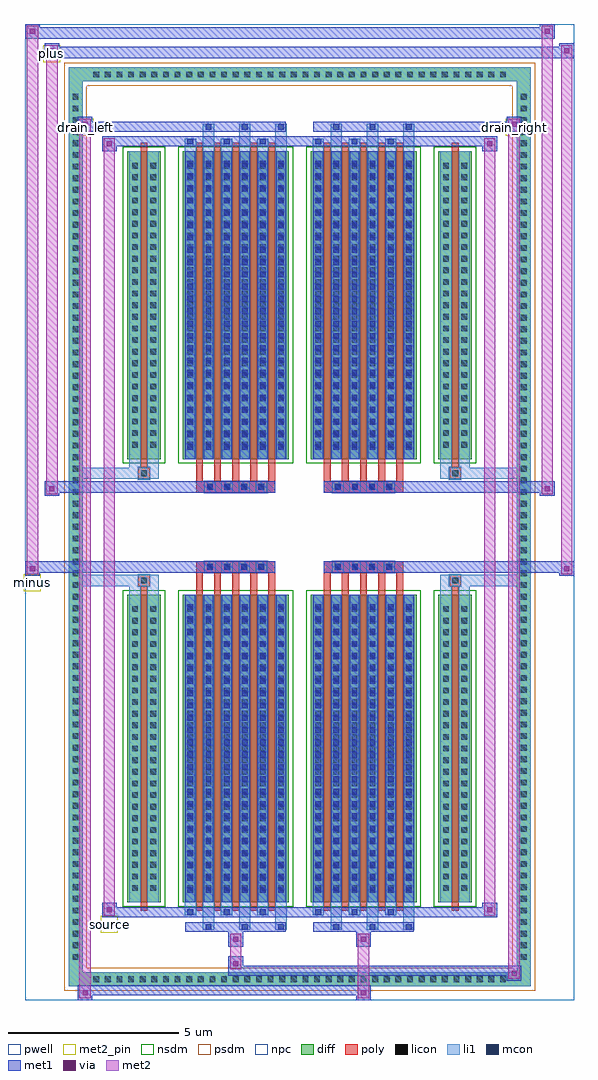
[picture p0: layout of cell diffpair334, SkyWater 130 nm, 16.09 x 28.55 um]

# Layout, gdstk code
import gdstk
lib = gdstk.Library(unit=1e-6, precision=5e-09)
def R(c, l, rs):  # rectangles x0, y0, x1, y1
    for r in rs: c.add(gdstk.rectangle(r[:2], r[2:], *l))
def A(c, l, x, y, w, h, nx, ny, dx, dy):  # array of equal rectangles
    R(c, l, [(x+i*dx, y+j*dy, x+i*dx+w, y+j*dy+h) for i in range(nx) for j in range(ny)])
def P(c, l, *ps):  # polygons
    for p in ps: c.add(gdstk.Polygon(p, *l))
pwell = (64, 44)
diff = (65, 20)
poly = (66, 20)
licon = (66, 44)
li1 = (67, 20)
mcon = (67, 44)
met1 = (68, 20)
via = (68, 44)
met2_pin = (69, 16)
met2 = (69, 20)
nsdm = (93, 44)
psdm = (94, 20)
npc = (95, 20)

diffpair334 = lib.new_cell('diffpair334')
R(diffpair334, pwell, [(-8.03,-13.84,8.03,14.71), (-5.35,-12.03,-0.01,-0.805), (0.01,-12.03,5.35,-0.805), (-5.35,0.805,-0.01,12.03), (0.01,0.805,5.35,12.03)])
A(diffpair334, diff, -6.155, -13.44, 0.41, 0.41, 36, 2, 0.34, 26.47)
A(diffpair334, diff, -6.76, -12.785, 0.41, 0.41, 1, 75, 0, 0.34)
A(diffpair334, diff, 6.35, -12.785, 0.41, 0.41, 1, 75, 0, 0.34)
R(diffpair334, diff, [(-6.155,-13.44,6.155,-13.03), (-6.76,-12.785,-6.35,12.785), (6.35,-12.785,6.76,12.785), (-5.04,-10.985,-4.06,-1.985), (-3.42,-10.985,-0.32,-1.985), (0.32,-10.985,3.42,-1.985), (4.06,-10.985,5.04,-1.985), (-5.04,1.985,-4.06,10.985), (-3.42,1.985,-0.32,10.985), (0.32,1.985,3.42,10.985), (4.06,1.985,5.04,10.985), (-6.155,13.03,6.155,13.44)])
P(diffpair334, diff, [(6.76,13.44),(-6.76,13.44),(-6.76,-13.03),(-6.35,-13.03),(-6.35,13.03),(6.35,13.03),(6.35,-13.03),(-6.35,-13.03),(-6.76,-13.03),(-6.76,-13.44),(6.76,-13.44)])
A(diffpair334, poly, -3.03, -11.235, 0.2, 9.5, 5, 2, 0.53, 12.97)
A(diffpair334, poly, 0.71, -11.235, 0.2, 9.5, 5, 2, 0.53, 12.97)
A(diffpair334, poly, -3.03, -1.735, 0.2, 0.4, 5, 2, 0.53, 3.07)
A(diffpair334, poly, 0.71, -1.735, 0.2, 0.4, 5, 2, 0.53, 3.07)
A(diffpair334, poly, -2.785, -1.335, 0.33, 0.33, 4, 2, 0.5, 2.34)
A(diffpair334, poly, 0.955, -1.335, 0.33, 0.33, 4, 2, 0.5, 2.34)
R(diffpair334, poly, [(-4.65,-11.235,-4.45,-1.735), (4.45,-11.235,4.65,-1.735), (-4.715,-1.735,-4.385,-1.405), (-4.715,-1.735,-4.385,-1.405), (4.385,-1.735,4.715,-1.405), (4.385,-1.735,4.715,-1.405), (-3.03,-1.335,-0.71,-1.005), (0.71,-1.335,3.03,-1.005), (-3.03,1.005,-0.71,1.335), (0.71,1.005,3.03,1.335), (-4.715,1.405,-4.385,1.735), (-4.715,1.405,-4.385,1.735), (4.385,1.405,4.715,1.735), (4.385,1.405,4.715,1.735), (-4.65,1.735,-4.45,11.235), (4.45,1.735,4.65,11.235)])
A(diffpair334, licon, -6.035, -13.32, 0.17, 0.17, 36, 2, 0.34, 26.47)
A(diffpair334, licon, -6.64, -12.665, 0.17, 0.17, 1, 75, 0, 0.34)
A(diffpair334, licon, 6.47, -12.665, 0.17, 0.17, 1, 75, 0, 0.34)
A(diffpair334, licon, -4.9, -10.65, 0.17, 0.17, 1, 25, 0, 0.34)
A(diffpair334, licon, -4.37, -10.65, 0.17, 0.17, 1, 25, 0, 0.34)
A(diffpair334, licon, -3.28, -10.65, 0.17, 0.17, 6, 25, 0.53, 0.34)
A(diffpair334, licon, 0.46, -10.65, 0.17, 0.17, 6, 25, 0.53, 0.34)
A(diffpair334, licon, 4.2, -10.65, 0.17, 0.17, 1, 25, 0, 0.34)
A(diffpair334, licon, 4.73, -10.65, 0.17, 0.17, 1, 25, 0, 0.34)
A(diffpair334, licon, -2.705, -1.255, 0.17, 0.17, 4, 2, 0.5, 2.34)
A(diffpair334, licon, 1.035, -1.255, 0.17, 0.17, 4, 2, 0.5, 2.34)
A(diffpair334, licon, -4.9, 2.32, 0.17, 0.17, 1, 25, 0, 0.34)
A(diffpair334, licon, -4.37, 2.32, 0.17, 0.17, 1, 25, 0, 0.34)
A(diffpair334, licon, -3.28, 2.32, 0.17, 0.17, 6, 25, 0.53, 0.34)
A(diffpair334, licon, 0.46, 2.32, 0.17, 0.17, 6, 25, 0.53, 0.34)
A(diffpair334, licon, 4.2, 2.32, 0.17, 0.17, 1, 25, 0, 0.34)
A(diffpair334, licon, 4.73, 2.32, 0.17, 0.17, 1, 25, 0, 0.34)
R(diffpair334, licon, [(-4.635,-1.655,-4.465,-1.485), (4.465,-1.655,4.635,-1.485), (-4.635,1.485,-4.465,1.655), (4.465,1.485,4.635,1.655)])
A(diffpair334, li1, -6.115, -13.4, 0.33, 0.33, 36, 2, 0.34, 26.47)
A(diffpair334, li1, -6.72, -12.745, 0.33, 0.33, 1, 75, 0, 0.34)
A(diffpair334, li1, 6.39, -12.745, 0.33, 0.33, 1, 75, 0, 0.34)
A(diffpair334, li1, -2.83, -11.79, 0.33, 0.805, 3, 2, 1.06, 22.775)
A(diffpair334, li1, -2.75, -11.79, 0.17, 0.17, 3, 2, 1.06, 23.41)
A(diffpair334, li1, 0.91, -11.79, 0.33, 0.805, 3, 2, 1.06, 22.775)
A(diffpair334, li1, 0.99, -11.79, 0.17, 0.17, 3, 2, 1.06, 23.41)
A(diffpair334, li1, -3.36, -11.36, 0.33, 0.375, 3, 2, 1.06, 22.345)
A(diffpair334, li1, -3.28, -11.36, 0.17, 0.17, 3, 2, 1.06, 22.55)
A(diffpair334, li1, 0.38, -11.36, 0.33, 0.375, 3, 2, 1.06, 22.345)
A(diffpair334, li1, 0.46, -11.36, 0.17, 0.17, 3, 2, 1.06, 22.55)
A(diffpair334, li1, -3.36, -10.985, 0.33, 9, 6, 2, 0.53, 12.97)
A(diffpair334, li1, 0.38, -10.985, 0.33, 9, 6, 2, 0.53, 12.97)
A(diffpair334, li1, -4.98, -10.73, 0.33, 0.33, 1, 25, 0, 0.34)
A(diffpair334, li1, -4.45, -10.73, 0.33, 0.33, 1, 25, 0, 0.34)
A(diffpair334, li1, -3.36, -10.73, 0.33, 0.33, 6, 25, 0.53, 0.34)
A(diffpair334, li1, 0.38, -10.73, 0.33, 0.33, 6, 25, 0.53, 0.34)
A(diffpair334, li1, 4.12, -10.73, 0.33, 0.33, 1, 25, 0, 0.34)
A(diffpair334, li1, 4.65, -10.73, 0.33, 0.33, 1, 25, 0, 0.34)
A(diffpair334, li1, -3.28, -10.71, 0.17, 0.17, 6, 24, 0.53, 0.36)
A(diffpair334, li1, -3.28, -10.71, 0.17, 8.45, 6, 2, 0.53, 12.97)
A(diffpair334, li1, 0.46, -10.71, 0.17, 0.17, 6, 24, 0.53, 0.36)
A(diffpair334, li1, 0.46, -10.71, 0.17, 8.45, 6, 2, 0.53, 12.97)
A(diffpair334, li1, -2.785, -1.335, 0.33, 0.33, 4, 2, 0.5, 2.34)
A(diffpair334, li1, 0.955, -1.335, 0.33, 0.33, 4, 2, 0.5, 2.34)
A(diffpair334, li1, -4.98, 2.24, 0.33, 0.33, 1, 25, 0, 0.34)
A(diffpair334, li1, -4.45, 2.24, 0.33, 0.33, 1, 25, 0, 0.34)
A(diffpair334, li1, -3.36, 2.24, 0.33, 0.33, 6, 25, 0.53, 0.34)
A(diffpair334, li1, 0.38, 2.24, 0.33, 0.33, 6, 25, 0.53, 0.34)
A(diffpair334, li1, 4.12, 2.24, 0.33, 0.33, 1, 25, 0, 0.34)
A(diffpair334, li1, 4.65, 2.24, 0.33, 0.33, 1, 25, 0, 0.34)
A(diffpair334, li1, -3.28, 2.26, 0.17, 0.17, 6, 24, 0.53, 0.36)
A(diffpair334, li1, 0.46, 2.26, 0.17, 0.17, 6, 24, 0.53, 0.36)
R(diffpair334, li1, [(-6.76,-13.44,-6.35,-13.03), (-6.76,-13.44,-6.35,-13.03), (-6.35,-13.44,6.35,-13.03), (6.35,-13.44,6.76,-13.03), (6.35,-13.44,6.76,-13.03), (-6.76,-13.03,-6.35,13.03), (6.35,-13.03,6.76,13.03), (-4.98,-10.985,-4.65,-1.985), (-4.45,-10.985,-4.12,-1.985), (4.12,-10.985,4.45,-1.985), (4.65,-10.985,4.98,-1.985), (-4.98,-1.985,-4.65,-1.405), (-4.45,-1.985,-4.12,-1.405), (4.12,-1.985,4.45,-1.405), (4.65,-1.985,4.98,-1.405), (-6.76,-1.735,-4.715,-1.405), (-4.98,-1.735,-4.715,-1.405), (-4.715,-1.735,-4.385,-1.405), (-4.385,-1.735,-4.12,-1.405), (4.12,-1.735,4.385,-1.405), (4.385,-1.735,4.715,-1.405), (4.385,-1.735,6.76,-1.405), (4.715,-1.735,4.98,-1.405), (-6.76,1.405,-4.715,1.735), (-4.98,1.405,-4.715,1.735), (-4.98,1.405,-4.65,1.985), (-4.715,1.405,-4.385,1.735), (-4.45,1.405,-4.12,1.985), (-4.385,1.405,-4.12,1.735), (4.12,1.405,4.385,1.735), (4.12,1.405,4.45,1.985), (4.385,1.405,4.715,1.735), (4.385,1.405,6.76,1.735), (4.65,1.405,4.98,1.985), (4.715,1.405,4.98,1.735), (-4.98,1.985,-4.65,10.985), (-4.45,1.985,-4.12,10.985), (4.12,1.985,4.45,10.985), (4.65,1.985,4.98,10.985), (-6.76,13.03,-6.35,13.44), (-6.76,13.03,-6.35,13.44), (-6.35,13.03,6.35,13.44), (6.35,13.03,6.76,13.44), (6.35,13.03,6.76,13.44)])
A(diffpair334, mcon, -2.75, -11.79, 0.17, 0.17, 3, 2, 1.06, 23.41)
A(diffpair334, mcon, 0.99, -11.79, 0.17, 0.17, 3, 2, 1.06, 23.41)
A(diffpair334, mcon, -3.28, -11.36, 0.17, 0.17, 3, 2, 1.06, 22.55)
A(diffpair334, mcon, 0.46, -11.36, 0.17, 0.17, 3, 2, 1.06, 22.55)
A(diffpair334, mcon, -3.28, -10.71, 0.17, 0.17, 6, 24, 0.53, 0.36)
A(diffpair334, mcon, 0.46, -10.71, 0.17, 0.17, 6, 24, 0.53, 0.36)
A(diffpair334, mcon, -2.705, -1.255, 0.17, 0.17, 4, 2, 0.5, 2.34)
A(diffpair334, mcon, 1.035, -1.255, 0.17, 0.17, 4, 2, 0.5, 2.34)
A(diffpair334, mcon, -3.28, 2.26, 0.17, 0.17, 6, 24, 0.53, 0.36)
A(diffpair334, mcon, 0.46, 2.26, 0.17, 0.17, 6, 24, 0.53, 0.36)
A(diffpair334, met1, -2.81, -11.85, 0.29, 0.29, 3, 2, 1.06, 23.41)
A(diffpair334, met1, 0.93, -11.85, 0.29, 0.29, 3, 2, 1.06, 23.41)
A(diffpair334, met1, -3.34, -11.42, 0.29, 0.29, 3, 2, 1.06, 22.55)
A(diffpair334, met1, 0.4, -11.42, 0.29, 0.29, 3, 2, 1.06, 22.55)
A(diffpair334, met1, -3.34, -10.985, 0.29, 9, 6, 2, 0.53, 12.97)
A(diffpair334, met1, 0.4, -10.985, 0.29, 9, 6, 2, 0.53, 12.97)
A(diffpair334, met1, -3.34, -10.77, 0.29, 0.29, 6, 24, 0.53, 0.36)
A(diffpair334, met1, 0.4, -10.77, 0.29, 0.29, 6, 24, 0.53, 0.36)
A(diffpair334, met1, -2.765, -1.315, 0.29, 0.29, 4, 2, 0.5, 2.34)
A(diffpair334, met1, 0.975, -1.315, 0.29, 0.29, 4, 2, 0.5, 2.34)
A(diffpair334, met1, -3.34, 2.2, 0.29, 0.29, 6, 24, 0.53, 0.36)
A(diffpair334, met1, 0.4, 2.2, 0.29, 0.29, 6, 24, 0.53, 0.36)
R(diffpair334, met1, [(-6.49,-13.84,-6.06,-13.41), (1.655,-13.84,2.085,-13.41), (-6.49,-13.7,2.085,-13.41), (6.06,-13.27,6.49,-12.84), (-2.085,-13.13,6.49,-12.84), (-2.085,-12.99,-1.655,-12.56), (-2.085,-12.28,-1.655,-11.85), (1.655,-12.28,2.085,-11.85), (-3.34,-11.85,-0.4,-11.56), (0.4,-11.85,3.34,-11.56), (-5.78,-11.42,-5.35,-10.99), (-5.78,-11.42,-3.34,-11.13), (-3.34,-11.42,-0.4,-11.13), (-0.4,-11.42,0.4,-11.13), (0.4,-11.42,3.34,-11.13), (3.34,-11.42,5.78,-11.13), (5.35,-11.42,5.78,-10.99), (-8.03,-1.435,-7.6,-1.005), (7.6,-1.435,8.03,-1.005), (-8.03,-1.335,-0.71,-1.005), (-3.03,-1.335,-0.71,-1.005), (0.71,-1.335,3.03,-1.005), (0.71,-1.335,8.03,-1.005), (-7.46,0.905,-7.03,1.335), (7.03,0.905,7.46,1.335), (-7.46,1.005,-3.03,1.335), (-3.03,1.005,-0.71,1.335), (0.71,1.005,3.03,1.335), (3.03,1.005,7.46,1.335), (-5.78,10.99,-5.35,11.42), (5.35,10.99,5.78,11.42), (-5.78,11.13,-3.34,11.42), (-3.34,11.13,-0.4,11.42), (-0.4,11.13,0.4,11.42), (0.4,11.13,3.34,11.42), (3.34,11.13,5.78,11.42), (-6.49,11.56,-6.06,11.99), (-6.49,11.56,-3.34,11.85), (-3.34,11.56,-0.4,11.85), (0.4,11.56,3.34,11.85), (3.34,11.56,6.49,11.85), (6.06,11.56,6.49,11.99), (-7.46,13.71,-7.03,14.14), (-7.46,13.71,-5.35,14.04), (-5.35,13.71,5.35,14.04), (5.35,13.71,8.03,14.04), (7.6,13.71,8.03,14.14), (-8.03,14.28,-7.6,14.71), (-8.03,14.28,-5.35,14.61), (-5.35,14.28,5.35,14.61), (5.35,14.28,7.46,14.61), (7.03,14.28,7.46,14.71)])
R(diffpair334, via, [(-6.35,-13.7,-6.2,-13.55), (1.795,-13.7,1.945,-13.55), (6.2,-13.13,6.35,-12.98), (-1.945,-12.85,-1.795,-12.7), (-1.945,-12.14,-1.795,-11.99), (1.795,-12.14,1.945,-11.99), (-5.64,-11.28,-5.49,-11.13), (5.49,-11.28,5.64,-11.13), (-7.89,-1.295,-7.74,-1.145), (7.74,-1.295,7.89,-1.145), (-7.32,1.045,-7.17,1.195), (7.17,1.045,7.32,1.195), (-5.64,11.13,-5.49,11.28), (5.49,11.13,5.64,11.28), (-6.35,11.7,-6.2,11.85), (6.2,11.7,6.35,11.85), (-7.32,13.85,-7.17,14), (7.74,13.85,7.89,14), (-7.89,14.42,-7.74,14.57), (7.17,14.42,7.32,14.57)])
R(diffpair334, met2_pin, [(-5.815,-11.87,-5.315,-11.37), (-8.065,-1.885,-7.565,-1.385), (-6.525,11.44,-6.025,11.94), (6.025,11.44,6.525,11.94), (-7.495,13.59,-6.995,14.09)])
R(diffpair334, met2, [(-6.44,-13.79,-6.11,-13.46), (-6.44,-13.79,-6.11,11.94), (1.705,-13.79,2.035,-13.46), (1.705,-13.46,2.035,-12.23), (6.11,-13.22,6.44,-12.89), (6.11,-13.22,6.44,11.94), (-2.035,-12.94,-1.705,-12.61), (-2.035,-12.61,-1.705,-12.23), (-2.035,-12.23,-1.705,-11.9), (1.705,-12.23,2.035,-11.9), (-5.73,-11.37,-5.4,-11.04), (-5.73,-11.37,-5.4,11.37), (5.4,-11.37,5.73,-11.04), (5.4,-11.37,5.73,11.37), (-7.98,-1.385,-7.65,-1.055), (-7.98,-1.385,-7.65,14.66), (7.65,-1.385,7.98,-1.055), (7.65,-1.385,7.98,14.09), (-7.41,0.955,-7.08,1.285), (-7.41,0.955,-7.08,14.09), (7.08,0.955,7.41,1.285), (7.08,0.955,7.41,14.66), (-5.73,11.04,-5.4,11.37), (5.4,11.04,5.73,11.37), (-6.44,11.61,-6.11,11.94), (6.11,11.61,6.44,11.94), (-7.41,13.76,-7.08,14.09), (7.65,13.76,7.98,14.09), (-7.98,14.33,-7.65,14.66), (7.08,14.33,7.41,14.66)])
P(diffpair334, met2, [(7.98,-1.385),(7.98,-1.385),(7.98,-1.055),(7.98,-1.055)],
  [(7.98,13.76),(7.98,13.76),(7.98,14.09),(7.98,14.09)],
  [(-7.65,-1.385),(-7.65,-1.385),(-7.65,-1.055),(-7.65,-1.055)],
  [(-7.65,14.33),(-7.65,14.33),(-7.65,14.66),(-7.65,14.66)],
  [(7.41,0.955),(7.41,0.955),(7.41,1.285),(7.41,1.285)],
  [(7.41,14.33),(7.41,14.33),(7.41,14.66),(7.41,14.66)],
  [(-7.08,0.955),(-7.08,0.955),(-7.08,1.285),(-7.08,1.285)],
  [(-7.08,13.76),(-7.08,13.76),(-7.08,14.09),(-7.08,14.09)],
  [(-6.11,-13.79),(-6.11,-13.79),(-6.11,-13.46),(-6.11,-13.46)],
  [(-6.11,11.61),(-6.11,11.61),(-6.11,11.94),(-6.11,11.94)],
  [(6.44,-13.22),(6.44,-13.22),(6.44,-12.89),(6.44,-12.89)],
  [(6.44,11.61),(6.44,11.61),(6.44,11.94),(6.44,11.94)],
  [(-5.4,-11.37),(-5.4,-11.37),(-5.4,-11.04),(-5.4,-11.04)],
  [(-5.4,11.04),(-5.4,11.04),(-5.4,11.37),(-5.4,11.37)],
  [(5.73,-11.37),(5.73,-11.37),(5.73,-11.04),(5.73,-11.04)],
  [(5.73,11.04),(5.73,11.04),(5.73,11.37),(5.73,11.37)])
R(diffpair334, nsdm, [(-5.17,-11.115,-3.93,-1.855), (-3.55,-11.115,-0.19,-1.855), (0.19,-11.115,3.55,-1.855), (3.93,-11.115,5.17,-1.855), (-5.17,1.855,-3.93,11.115), (-3.55,1.855,-0.19,11.115), (0.19,1.855,3.55,11.115), (3.93,1.855,5.17,11.115)])
P(diffpair334, psdm, [(6.89,13.57),(-6.89,13.57),(-6.89,-12.9),(-6.22,-12.9),(-6.22,12.9),(6.22,12.9),(6.22,-12.9),(-6.22,-12.9),(-6.89,-12.9),(-6.89,-13.57),(6.89,-13.57)])
A(diffpair334, npc, -2.805, -1.355, 0.37, 0.37, 4, 2, 0.5, 2.34)
A(diffpair334, npc, 0.935, -1.355, 0.37, 0.37, 4, 2, 0.5, 2.34)
R(diffpair334, npc, [(-4.735,-1.755,-4.365,-1.385), (4.365,-1.755,4.735,-1.385), (-2.805,-1.355,-1.935,-0.985), (-2.805,-1.355,-1.935,-0.985), (-2.305,-1.355,-1.435,-0.985), (-2.305,-1.355,-1.435,-0.985), (-1.805,-1.355,-0.935,-0.985), (-1.805,-1.355,-0.935,-0.985), (0.935,-1.355,1.805,-0.985), (0.935,-1.355,1.805,-0.985), (1.435,-1.355,2.305,-0.985), (1.435,-1.355,2.305,-0.985), (1.935,-1.355,2.805,-0.985), (1.935,-1.355,2.805,-0.985), (-2.805,0.985,-1.935,1.355), (-2.805,0.985,-1.935,1.355), (-2.305,0.985,-1.435,1.355), (-2.305,0.985,-1.435,1.355), (-1.805,0.985,-0.935,1.355), (-1.805,0.985,-0.935,1.355), (0.935,0.985,1.805,1.355), (0.935,0.985,1.805,1.355), (1.435,0.985,2.305,1.355), (1.435,0.985,2.305,1.355), (1.935,0.985,2.805,1.355), (1.935,0.985,2.805,1.355), (-4.735,1.385,-4.365,1.755), (4.365,1.385,4.735,1.755)])
diffpair334.add(gdstk.Label('minus', (-7.815,-1.635), layer=69, texttype=5))
diffpair334.add(gdstk.Label('drain_right', (6.275,11.69), layer=69, texttype=5))
diffpair334.add(gdstk.Label('drain_left', (-6.275,11.69), layer=69, texttype=5))
diffpair334.add(gdstk.Label('source', (-5.565,-11.62), layer=69, texttype=5))
diffpair334.add(gdstk.Label('plus', (-7.245,13.84), layer=69, texttype=5))

lib.write_gds('diffpair334.gds')
